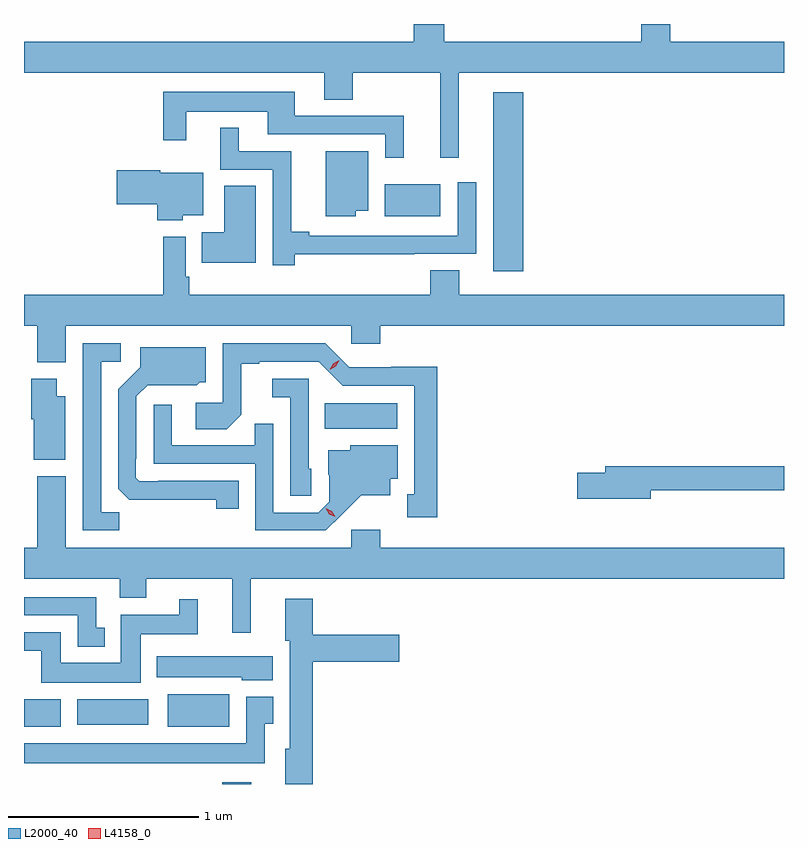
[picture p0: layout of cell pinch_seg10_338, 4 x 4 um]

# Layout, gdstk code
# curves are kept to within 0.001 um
import gdstk
lib = gdstk.Library(unit=1e-6, precision=1e-09)
def R(c, l, rs):  # rectangles x0, y0, x1, y1
    for r in rs: c.add(gdstk.rectangle(r[:2], r[2:], *l))
def P(c, l, *ps):  # polygons
    for p in ps: c.add(gdstk.Polygon(p, *l))
L2000_40 = (2000, 40)
L4158_0 = (4158, 0)

pinch_seg10_338 = lib.new_cell('pinch_seg10_338')
R(pinch_seg10_338, L2000_40, [(400.343,1267.269,400.495,1267.279), (399.299,1267.571,399.493,1267.714), (400.055,1267.571,400.378,1267.741), (399.578,1267.58,399.952,1267.714), (400.882,1269.14,401.263,1269.274), (401.768,1269.969,401.927,1270.909), (401.198,1270.256,401.491,1270.426), (401.951,1271.267,402.136,1271.269)])
P(pinch_seg10_338, L2000_40, [(401.588,1271.012),(403.299,1271.012),(403.299,1271.176),(402.701,1271.176),(402.701,1271.269),(402.548,1271.269),(402.548,1271.176),(401.511,1271.176),(401.511,1271.269),(401.351,1271.269),(401.351,1271.176),(399.299,1271.176),(399.299,1271.012),(400.88,1271.012),(400.88,1270.87),(401.028,1270.87),(401.028,1271.012),(401.489,1271.012),(401.489,1270.566),(401.588,1270.566)],
  [(401.297,1270.785),(400.723,1270.785),(400.723,1270.912),(400.032,1270.912),(400.032,1270.656),(400.153,1270.656),(400.153,1270.808),(400.583,1270.808),(400.583,1270.689),(401.199,1270.689),(401.199,1270.566),(401.297,1270.566)],
  [(400.724,1270.058),(401.354,1270.058),(401.354,1270.059),(401.679,1270.059),(401.679,1270.435),(401.583,1270.435),(401.583,1270.155),(400.801,1270.155),(400.801,1270.175),(400.706,1270.175),(400.706,1270.599),(400.429,1270.599),(400.429,1270.723),(400.331,1270.723),(400.331,1270.503),(400.608,1270.503),(400.608,1269.999),(400.724,1269.999)],
  [(401.044,1270.286),(401.11,1270.286),(401.11,1270.6),(400.886,1270.6),(400.886,1270.256),(401.044,1270.256)],
  [(400.134,1270.262),(400.243,1270.262),(400.243,1270.486),(400.017,1270.486),(400.017,1270.499),(399.786,1270.499),(399.786,1270.321),(400.001,1270.321),(400.001,1270.235),(400.134,1270.235)],
  [(400.519,1270.418),(400.352,1270.418),(400.352,1270.174),(400.234,1270.174),(400.234,1270.013),(400.519,1270.013)],
  [(399.52,1269.68),(401.022,1269.68),(401.022,1269.587),(401.174,1269.587),(401.174,1269.68),(403.299,1269.68),(403.299,1269.844),(401.59,1269.844),(401.59,1269.974),(401.438,1269.974),(401.438,1269.844),(400.169,1269.844),(400.169,1269.94),(400.149,1269.94),(400.149,1270.15),(400.033,1270.15),(400.033,1269.844),(399.299,1269.844),(399.299,1269.68),(399.368,1269.68),(399.368,1269.488),(399.52,1269.488)],
  [(401.473,1269.464),(401.232,1269.464),(401.232,1269.462),(401.01,1269.462),(400.884,1269.588),(400.344,1269.588),(400.344,1269.276),(400.203,1269.276),(400.203,1269.136),(400.367,1269.136),(400.443,1269.212),(400.443,1269.48),(400.537,1269.48),(400.537,1269.492),(400.851,1269.492),(400.977,1269.366),(401.354,1269.366),(401.354,1268.793),(401.315,1268.793),(401.315,1268.673),(401.473,1268.673)],
  [(399.801,1268.699),(399.705,1268.699),(399.705,1269.492),(399.808,1269.492),(399.808,1269.588),(399.609,1269.588),(399.609,1268.604),(399.801,1268.604)],
  [(400.43,1268.865),(400.006,1268.865),(400.006,1268.862),(399.906,1268.862),(399.888,1268.88),(399.888,1268.98),(399.891,1268.98),(399.891,1269.309),(399.951,1269.369),(400.208,1269.368),(400.224,1269.384),(400.255,1269.384),(400.255,1269.568),(399.911,1269.568),(399.911,1269.462),(399.795,1269.346),(399.795,1268.824),(399.854,1268.765),(400.312,1268.764),(400.312,1268.718),(400.43,1268.718)],
  [(399.517,1269.31),(399.472,1269.31),(399.472,1269.403),(399.338,1269.403),(399.338,1269.189),(399.35,1269.189),(399.35,1268.975),(399.517,1268.975)],
  [(400.812,1268.928),(400.797,1268.928),(400.797,1269.402),(400.605,1269.402),(400.605,1269.305),(400.701,1269.305),(400.701,1268.785),(400.812,1268.785)],
  [(400.972,1268.687),(401.075,1268.789),(401.227,1268.789),(401.227,1268.876),(401.266,1268.876),(401.266,1269.052),(401.016,1269.052),(401.016,1269.025),(400.901,1269.025),(400.901,1268.896),(400.905,1268.896),(400.905,1268.754),(400.848,1268.697),(400.611,1268.697),(400.611,1269.164),(400.513,1269.164),(400.513,1269.051),(400.077,1269.051),(400.077,1269.265),(399.981,1269.265),(399.981,1268.955),(400.515,1268.955),(400.515,1268.604),(400.888,1268.604)],
  [(402.598,1268.814),(403.299,1268.814),(403.299,1268.942),(402.359,1268.942),(402.359,1268.906),(402.21,1268.906),(402.21,1268.771),(402.598,1268.771)],
  [(400.493,1268.348),(403.299,1268.348),(403.299,1268.512),(401.174,1268.512),(401.174,1268.608),(401.022,1268.608),(401.022,1268.512),(399.52,1268.512),(399.52,1268.89),(399.368,1268.89),(399.368,1268.512),(399.299,1268.512),(399.299,1268.348),(399.803,1268.348),(399.803,1268.249),(399.943,1268.249),(399.943,1268.348),(400.394,1268.348),(400.394,1268.064),(400.493,1268.064)],
  [(399.724,1268.091),(399.678,1268.091),(399.678,1268.253),(399.299,1268.253),(399.299,1268.157),(399.582,1268.157),(399.582,1267.991),(399.724,1267.991)],
  [(400.82,1267.913),(401.275,1267.913),(401.275,1268.055),(400.82,1268.055),(400.82,1268.245),(400.673,1268.245),(400.673,1268.022),(400.697,1268.022),(400.697,1267.455),(400.673,1267.455),(400.673,1267.269),(400.82,1267.269)],
  [(399.913,1268.057),(400.214,1268.057),(400.214,1268.242),(400.115,1268.242),(400.115,1268.161),(399.809,1268.161),(399.809,1267.906),(399.493,1267.906),(399.493,1268.067),(399.299,1268.067),(399.299,1267.971),(399.389,1267.971),(399.389,1267.802),(399.913,1267.802)],
  [(400.609,1267.942),(399.998,1267.942),(399.998,1267.832),(400.446,1267.832),(400.446,1267.814),(400.609,1267.814)],
  [(400.567,1267.585),(400.612,1267.585),(400.612,1267.729),(400.47,1267.729),(400.47,1267.483),(399.299,1267.483),(399.299,1267.379),(400.567,1267.379)])
P(pinch_seg10_338, L4158_0, [(400.908,1269.449),(400.908,1269.449),(400.926,1269.481),(400.957,1269.5),(400.958,1269.5),(400.958,1269.5),(400.94,1269.467),(400.908,1269.449)],
  [(400.936,1268.676),(400.905,1268.69),(400.888,1268.72),(400.888,1268.72),(400.888,1268.72),(400.919,1268.705),(400.936,1268.676),(400.936,1268.676)])

lib.write_gds('pinch_seg10_338.gds')
